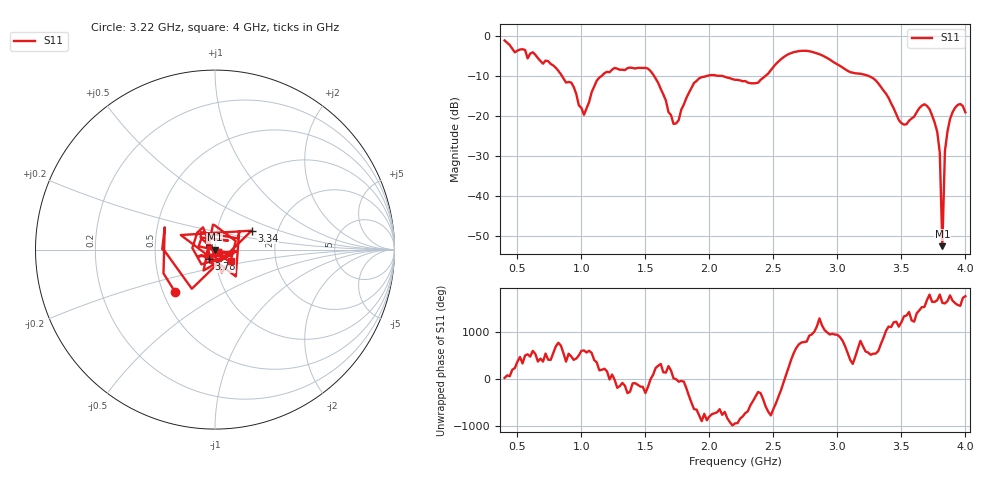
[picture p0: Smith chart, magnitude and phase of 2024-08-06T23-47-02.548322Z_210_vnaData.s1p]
!Created with skrf (http://scikit-rf.org).
# Hz S RI R 50.0
!freq ReS11 ImS11
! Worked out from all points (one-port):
!   181 points, 400 MHz to 4 GHz, reference 50 ohm
!   lowest |S11| = -52.5 dB at 3.82 GHz (marker M1), VSWR 1.00, Z = 49.8 - j0.00672 ohm
!   |S11| at or under -10 dB: 1.567 GHz to 1.985 GHz (418.5 MHz wide, 23.6 % of centre); 2.06 GHz to 2.439 GHz (379.1 MHz wide, 16.8 % of centre); 3.24 GHz to end of sweep (the widest 3 of 4)
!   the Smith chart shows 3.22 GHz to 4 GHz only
!   S11 on the Smith chart (normalised r, x): 3.22 GHz: 0.58, -0.30; 3.34 GHz: 1.47, +0.33; 3.78 GHz: 0.93, -0.10; 4 GHz: 1.18, -0.16
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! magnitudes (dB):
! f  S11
! 400 MHz  -1.2
! 740 MHz  -6.4
! 860 MHz  -10.7
! 940 MHz  -12.8
! 1.02 GHz  -19.7
! 1.12 GHz  -11.2
! 1.3 GHz  -8.5
! 1.52 GHz  -8.2
! 1.6 GHz  -11.8
! 1.72 GHz  -22.0
! 1.76 GHz  -21.1
! 1.92 GHz  -10.6
! 2.2 GHz  -11.0
! 2.38 GHz  -11.7
! 2.66 GHz  -4.1
! 3.1 GHz  -9.1
! 3.22 GHz  -9.8
! 3.34 GHz  -12.8
! 3.48 GHz  -21.0
! 3.56 GHz  -21.2
! 3.68 GHz  -17.1
! 3.78 GHz  -24.0
! 3.8 GHz  -29.2
! 3.82 GHz  -52.5
! 3.84 GHz  -28.8
! 3.86 GHz  -23.9
! 3.94 GHz  -17.3
! 4 GHz  -19.1
